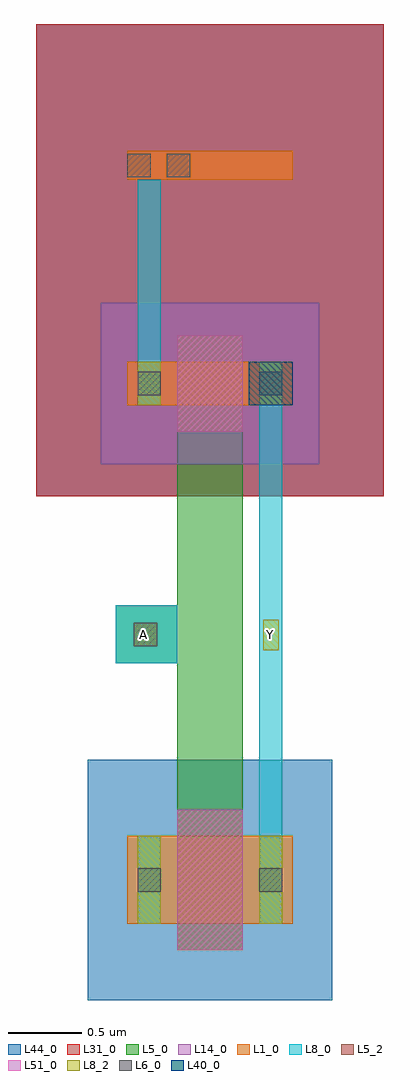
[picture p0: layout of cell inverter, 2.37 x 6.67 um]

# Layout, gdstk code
import gdstk
lib = gdstk.Library(unit=1e-6, precision=5e-09)
def R(c, l, rs):  # rectangles x0, y0, x1, y1
    for r in rs: c.add(gdstk.rectangle(r[:2], r[2:], *l))
L1_0 = (1, 0)
L5_0 = (5, 0)
L5_2 = (5, 2)
L6_0 = (6, 0)
L8_0 = (8, 0)
L8_2 = (8, 2)
L14_0 = (14, 0)
L31_0 = (31, 0)
L40_0 = (40, 0)
L44_0 = (44, 0)
L51_0 = (51, 0)

nmoshv = lib.new_cell('nmosHV')
R(nmoshv, L1_0, [(0,0,0.3,0.3), (0,0,1.13,0.6), (0.83,0,1.13,0.3)])
R(nmoshv, L5_0, [(0.34,-0.18,0.79,0.78)])
R(nmoshv, L5_2, [(0.34,-0.18,0.79,0.78)])
R(nmoshv, L6_0, [(0.07,0.22,0.23,0.38), (0.9,0.22,1.06,0.38)])
R(nmoshv, L8_0, [(0.07,0,0.23,0.6), (0.9,0,1.06,0.6)])
R(nmoshv, L8_2, [(0.07,0,0.23,0.6), (0.9,0,1.06,0.6)])
R(nmoshv, L44_0, [(-0.27,-0.52,1.4,1.12)])
R(nmoshv, L51_0, [(0.34,-0.18,0.79,0.78)])
nmoshv.add(gdstk.Label('nmosHV', (0.565,0.3), layer=63, texttype=0))
nmoshv.add(gdstk.Label('nmosHV', (0.565,0.3), layer=51, texttype=0))

pmoshv_1 = lib.new_cell('pmosHV$1')
R(pmoshv_1, L1_0, [(0,0,0.3,0.3), (0,0,1.13,0.3), (0.83,0,1.13,0.3)])
R(pmoshv_1, L5_0, [(0.34,-0.18,0.79,0.48)])
R(pmoshv_1, L5_2, [(0.34,-0.18,0.79,0.48)])
R(pmoshv_1, L6_0, [(0.07,0.07,0.23,0.23), (0.9,0.07,1.06,0.23)])
R(pmoshv_1, L8_0, [(0.07,0,0.23,0.3), (0.9,0,1.06,0.3)])
R(pmoshv_1, L8_2, [(0.07,0,0.23,0.3), (0.9,0,1.06,0.3)])
R(pmoshv_1, L14_0, [(-0.18,-0.4,1.31,0.7)])
R(pmoshv_1, L31_0, [(-0.62,-0.62,1.75,0.92)])
R(pmoshv_1, L40_0, [(0.83,0,1.13,0.3)])
R(pmoshv_1, L44_0, [(-0.62,-0.62,1.75,0.92)])
R(pmoshv_1, L51_0, [(0.34,-0.18,0.79,0.48)])
pmoshv_1.add(gdstk.Label('pmosHV', (0.565,0.15), layer=63, texttype=0))
pmoshv_1.add(gdstk.Label('pmos', (0.565,0.15), layer=51, texttype=0))

inverter = lib.new_cell('inverter')
R(inverter, L1_0, [(2.785,6.235,3.915,6.435)])
R(inverter, L5_0, [(3.125,0.975,3.575,5.175), (2.705,2.935,3.125,3.33)])
R(inverter, L6_0, [(2.83,3.05,2.99,3.21), (2.785,6.255,2.945,6.415), (3.055,6.255,3.215,6.415)])
R(inverter, L8_0, [(3.685,1.155,3.845,4.995), (2.705,2.935,3.125,3.33), (2.855,4.995,3.015,6.235)])
R(inverter, L8_2, [(3.715,3.025,3.82,3.23), (2.83,3.05,2.99,3.21)])
R(inverter, L31_0, [(2.165,5.615,4.535,7.3)])
R(inverter, L44_0, [(2.165,5.615,4.535,7.3)])
inverter.add(gdstk.Reference(nmoshv, (2.785,1.155)))
inverter.add(gdstk.Reference(pmoshv_1, (2.785,4.695)))
inverter.add(gdstk.Label('Y', (3.765,3.13), layer=8, texttype=25))
inverter.add(gdstk.Label('A', (2.895,3.13), layer=8, texttype=25))

lib.write_gds('inverter.gds')
